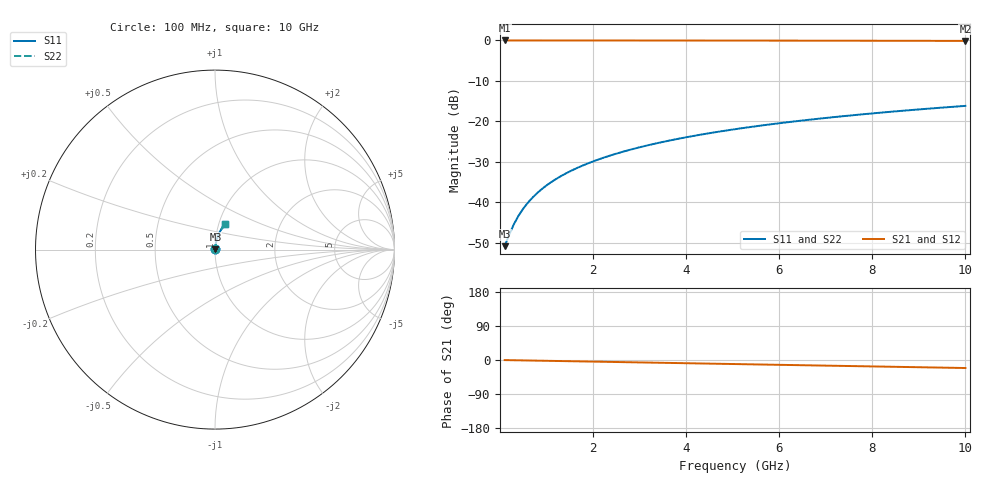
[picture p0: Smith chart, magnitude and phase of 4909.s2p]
# Hz S RI R 50.00
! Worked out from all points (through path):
!   100 points, 100 MHz to 10 GHz, reference 50 ohm
!   highest |S21| = -0.02 dB at 100 MHz (marker M1); lowest = -0.1 dB at 10 GHz (marker M2)
!   group delay of S21, straight-line fit = 5.88 ps
!   lowest |S11| = -50.9 dB at 100 MHz (marker M3), VSWR 1.01, Z = 50.2 + j0.159 ohm
!   |S11| at or under -10 dB: start of sweep to end of sweep
!   |S22| runs from -50.9 to -16.2 dB; largest |S21 - S12| = 0
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1e8  0.00237 0.00158  0.9976 -0.00369  0.9976 -0.00369  0.00237 0.00158
2e8  0.00241 0.00316  0.9976 -0.00739  0.9976 -0.00739  0.00241 0.00316
3e8  0.00245 0.00474  0.9975 -0.0111  0.9975 -0.0111  0.00245 0.00474
4e8  0.0025 0.00632  0.9975 -0.0148  0.9975 -0.0148  0.0025 0.00632
5e8  0.00256 0.0079  0.9974 -0.0185  0.9974 -0.0185  0.00256 0.0079
6e8  0.00263 0.00948  0.9973 -0.0222  0.9973 -0.0222  0.00263 0.00948
7e8  0.00271 0.0111  0.9972 -0.0259  0.9972 -0.0259  0.00271 0.0111
9e8  0.0029 0.0142  0.9969 -0.0332  0.9969 -0.0332  0.0029 0.0142
1e9  0.00302 0.0158  0.9967 -0.0369  0.9967 -0.0369  0.00302 0.0158
1.2e9  0.00329 0.0189  0.9964 -0.0443  0.9964 -0.0443  0.00329 0.0189
1.5e9  0.00377 0.0236  0.9957 -0.0554  0.9957 -0.0554  0.00377 0.0236
1.8e9  0.00436 0.0283  0.9949 -0.0664  0.9949 -0.0664  0.00436 0.0283
2.1e9  0.00505 0.033  0.9939 -0.0775  0.9939 -0.0775  0.00505 0.033
2.5e9  0.00613 0.0393  0.9924 -0.0922  0.9924 -0.0922  0.00613 0.0393
2.9e9  0.00739 0.0454  0.9907 -0.1068  0.9907 -0.1068  0.00739 0.0454
3.4e9  0.00923 0.0531  0.9881 -0.1251  0.9881 -0.1251  0.00923 0.0531
4.2e9  0.0127 0.0652  0.9832 -0.1542  0.9832 -0.1542  0.0127 0.0652
5.1e9  0.0176 0.0786  0.9765 -0.1866  0.9765 -0.1866  0.0176 0.0786
5.9e9  0.0226 0.0901  0.9695 -0.2151  0.9695 -0.2151  0.0226 0.0901
6.7e9  0.0282 0.1013  0.9615 -0.2434  0.9615 -0.2434  0.0282 0.1013
8.4e9  0.0424 0.1239  0.9414 -0.3021  0.9414 -0.3021  0.0424 0.1239
1e10  0.0582 0.1434  0.9188 -0.3557  0.9188 -0.3557  0.0582 0.1434
